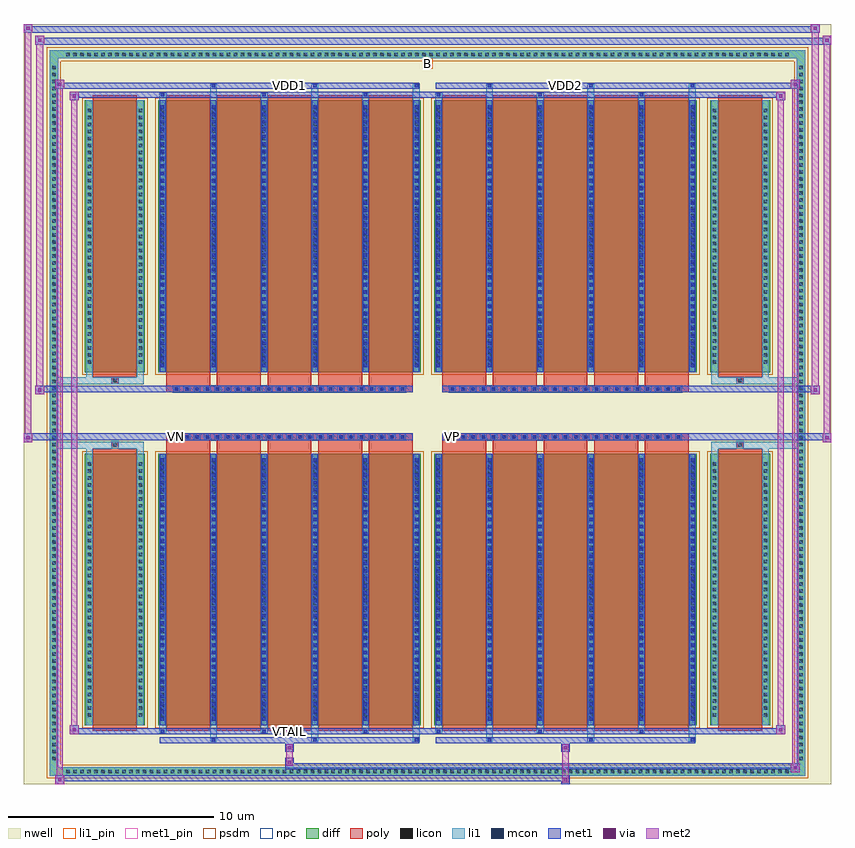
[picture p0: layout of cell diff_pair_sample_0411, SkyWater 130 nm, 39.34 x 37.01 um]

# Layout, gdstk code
import gdstk
lib = gdstk.Library(unit=1e-6, precision=5e-09)
def R(c, l, rs):  # rectangles x0, y0, x1, y1
    for r in rs: c.add(gdstk.rectangle(r[:2], r[2:], *l))
def A(c, l, x, y, w, h, nx, ny, dx, dy):  # array of equal rectangles
    R(c, l, [(x+i*dx, y+j*dy, x+i*dx+w, y+j*dy+h) for i in range(nx) for j in range(ny)])
def P(c, l, *ps):  # polygons
    for p in ps: c.add(gdstk.Polygon(p, *l))
nwell = (64, 20)
diff = (65, 20)
poly = (66, 20)
licon = (66, 44)
li1_pin = (67, 16)
li1 = (67, 20)
mcon = (67, 44)
met1_pin = (68, 16)
met1 = (68, 20)
via = (68, 44)
met2 = (69, 20)
psdm = (94, 20)
npc = (95, 20)

diff_pair_sample_0411 = lib.new_cell('diff_pair_sample_0411')
R(diff_pair_sample_0411, nwell, [(-19.67,-18.07,19.67,18.94), (-16.99,-16.26,-0.01,-0.8), (0.01,-16.26,16.99,-0.8), (-16.99,0.8,-0.01,16.26), (0.01,0.8,16.99,16.26)])
A(diff_pair_sample_0411, diff, -17.715, -17.67, 0.41, 0.41, 104, 2, 0.34, 34.93)
A(diff_pair_sample_0411, diff, -18.4, -17.035, 0.41, 0.41, 1, 100, 0, 0.34)
A(diff_pair_sample_0411, diff, 17.99, -17.035, 0.41, 0.41, 1, 100, 0, 0.34)
R(diff_pair_sample_0411, diff, [(-17.715,-17.67,17.715,-17.26), (-18.4,-17.035,-17.99,17.035), (17.99,-17.035,18.4,17.035), (-16.68,-15.215,-13.76,-1.985), (-13.12,-15.215,-0.32,-1.985), (0.32,-15.215,13.12,-1.985), (13.76,-15.215,16.68,-1.985), (-16.68,1.985,-13.76,15.215), (-13.12,1.985,-0.32,15.215), (0.32,1.985,13.12,15.215), (13.76,1.985,16.68,15.215), (-17.715,17.26,17.715,17.67)])
P(diff_pair_sample_0411, diff, [(18.4,17.67),(-18.4,17.67),(-18.4,-17.26),(-17.99,-17.26),(-17.99,17.26),(17.99,17.26),(17.99,-17.26),(-17.99,-17.26),(-18.4,-17.26),(-18.4,-17.67),(18.4,-17.67)])
A(diff_pair_sample_0411, poly, -12.73, -15.465, 2.14, 13.73, 5, 2, 2.47, 17.2)
A(diff_pair_sample_0411, poly, 0.71, -15.465, 2.14, 13.73, 5, 2, 2.47, 17.2)
A(diff_pair_sample_0411, poly, -12.73, -1.735, 2.14, 0.405, 5, 2, 2.47, 3.065)
A(diff_pair_sample_0411, poly, 0.71, -1.735, 2.14, 0.405, 5, 2, 2.47, 3.065)
A(diff_pair_sample_0411, poly, -12.385, -1.33, 0.33, 0.33, 23, 2, 0.5, 2.33)
A(diff_pair_sample_0411, poly, 1.055, -1.33, 0.33, 0.33, 23, 2, 0.5, 2.33)
R(diff_pair_sample_0411, poly, [(-16.29,-15.465,-14.15,-1.735), (14.15,-15.465,16.29,-1.735), (-15.385,-1.735,-15.055,-1.405), (-15.385,-1.735,-15.055,-1.405), (15.055,-1.735,15.385,-1.405), (15.055,-1.735,15.385,-1.405), (-12.73,-1.33,-0.71,-1), (0.71,-1.33,12.73,-1), (-12.73,1,-0.71,1.33), (0.71,1,12.73,1.33), (-15.385,1.405,-15.055,1.735), (-15.385,1.405,-15.055,1.735), (15.055,1.405,15.385,1.735), (15.055,1.405,15.385,1.735), (-16.29,1.735,-14.15,15.465), (14.15,1.735,16.29,15.465)])
A(diff_pair_sample_0411, licon, -17.595, -17.55, 0.17, 0.17, 104, 2, 0.34, 34.93)
A(diff_pair_sample_0411, licon, -18.28, -16.915, 0.17, 0.17, 1, 100, 0, 0.34)
A(diff_pair_sample_0411, licon, 18.11, -16.915, 0.17, 0.17, 1, 100, 0, 0.34)
A(diff_pair_sample_0411, licon, -16.54, -14.805, 0.17, 0.17, 1, 37, 0, 0.34)
A(diff_pair_sample_0411, licon, -14.07, -14.805, 0.17, 0.17, 1, 37, 0, 0.34)
A(diff_pair_sample_0411, licon, -12.98, -14.805, 0.17, 0.17, 6, 37, 2.47, 0.34)
A(diff_pair_sample_0411, licon, 0.46, -14.805, 0.17, 0.17, 6, 37, 2.47, 0.34)
A(diff_pair_sample_0411, licon, 13.9, -14.805, 0.17, 0.17, 1, 37, 0, 0.34)
A(diff_pair_sample_0411, licon, 16.37, -14.805, 0.17, 0.17, 1, 37, 0, 0.34)
A(diff_pair_sample_0411, licon, -12.305, -1.25, 0.17, 0.17, 23, 2, 0.5, 2.33)
A(diff_pair_sample_0411, licon, 1.135, -1.25, 0.17, 0.17, 23, 2, 0.5, 2.33)
A(diff_pair_sample_0411, licon, -16.54, 2.395, 0.17, 0.17, 1, 37, 0, 0.34)
A(diff_pair_sample_0411, licon, -14.07, 2.395, 0.17, 0.17, 1, 37, 0, 0.34)
A(diff_pair_sample_0411, licon, -12.98, 2.395, 0.17, 0.17, 6, 37, 2.47, 0.34)
A(diff_pair_sample_0411, licon, 0.46, 2.395, 0.17, 0.17, 6, 37, 2.47, 0.34)
A(diff_pair_sample_0411, licon, 13.9, 2.395, 0.17, 0.17, 1, 37, 0, 0.34)
A(diff_pair_sample_0411, licon, 16.37, 2.395, 0.17, 0.17, 1, 37, 0, 0.34)
R(diff_pair_sample_0411, licon, [(-15.305,-1.655,-15.135,-1.485), (15.135,-1.655,15.305,-1.485), (-15.305,1.485,-15.135,1.655), (15.135,1.485,15.305,1.655)])
R(diff_pair_sample_0411, li1_pin, [(-0.25,16.76,0.25,17.26)])
A(diff_pair_sample_0411, li1, -17.675, -17.63, 0.33, 0.33, 104, 2, 0.34, 34.93)
A(diff_pair_sample_0411, li1, -18.36, -16.995, 0.33, 0.33, 1, 100, 0, 0.34)
A(diff_pair_sample_0411, li1, 18.03, -16.995, 0.33, 0.33, 1, 100, 0, 0.34)
A(diff_pair_sample_0411, li1, -10.59, -16.02, 0.33, 0.805, 3, 2, 4.94, 31.235)
A(diff_pair_sample_0411, li1, -10.51, -16.02, 0.17, 0.17, 3, 2, 4.94, 31.87)
A(diff_pair_sample_0411, li1, 2.85, -16.02, 0.33, 0.805, 3, 2, 4.94, 31.235)
A(diff_pair_sample_0411, li1, 2.93, -16.02, 0.17, 0.17, 3, 2, 4.94, 31.87)
A(diff_pair_sample_0411, li1, -13.06, -15.59, 0.33, 0.375, 3, 2, 4.94, 30.805)
A(diff_pair_sample_0411, li1, -12.98, -15.59, 0.17, 0.17, 3, 2, 4.94, 31.01)
A(diff_pair_sample_0411, li1, 0.38, -15.59, 0.33, 0.375, 3, 2, 4.94, 30.805)
A(diff_pair_sample_0411, li1, 0.46, -15.59, 0.17, 0.17, 3, 2, 4.94, 31.01)
A(diff_pair_sample_0411, li1, -13.06, -15.215, 0.33, 13.23, 6, 2, 2.47, 17.2)
A(diff_pair_sample_0411, li1, 0.38, -15.215, 0.33, 13.23, 6, 2, 2.47, 17.2)
A(diff_pair_sample_0411, li1, -12.98, -14.985, 0.17, 0.17, 6, 36, 2.47, 0.36)
A(diff_pair_sample_0411, li1, -12.98, -14.985, 0.17, 12.77, 6, 2, 2.47, 17.2)
A(diff_pair_sample_0411, li1, 0.46, -14.985, 0.17, 0.17, 6, 36, 2.47, 0.36)
A(diff_pair_sample_0411, li1, 0.46, -14.985, 0.17, 12.77, 6, 2, 2.47, 17.2)
A(diff_pair_sample_0411, li1, -16.62, -14.885, 0.33, 0.33, 1, 37, 0, 0.34)
A(diff_pair_sample_0411, li1, -14.15, -14.885, 0.33, 0.33, 1, 37, 0, 0.34)
A(diff_pair_sample_0411, li1, -13.06, -14.885, 0.33, 0.33, 6, 37, 2.47, 0.34)
A(diff_pair_sample_0411, li1, 0.38, -14.885, 0.33, 0.33, 6, 37, 2.47, 0.34)
A(diff_pair_sample_0411, li1, 13.82, -14.885, 0.33, 0.33, 1, 37, 0, 0.34)
A(diff_pair_sample_0411, li1, 16.29, -14.885, 0.33, 0.33, 1, 37, 0, 0.34)
A(diff_pair_sample_0411, li1, -12.385, -1.33, 0.33, 0.33, 23, 2, 0.5, 2.33)
A(diff_pair_sample_0411, li1, 1.055, -1.33, 0.33, 0.33, 23, 2, 0.5, 2.33)
A(diff_pair_sample_0411, li1, -12.98, 2.215, 0.17, 0.17, 6, 36, 2.47, 0.36)
A(diff_pair_sample_0411, li1, 0.46, 2.215, 0.17, 0.17, 6, 36, 2.47, 0.36)
A(diff_pair_sample_0411, li1, -16.62, 2.315, 0.33, 0.33, 1, 37, 0, 0.34)
A(diff_pair_sample_0411, li1, -14.15, 2.315, 0.33, 0.33, 1, 37, 0, 0.34)
A(diff_pair_sample_0411, li1, -13.06, 2.315, 0.33, 0.33, 6, 37, 2.47, 0.34)
A(diff_pair_sample_0411, li1, 0.38, 2.315, 0.33, 0.33, 6, 37, 2.47, 0.34)
A(diff_pair_sample_0411, li1, 13.82, 2.315, 0.33, 0.33, 1, 37, 0, 0.34)
A(diff_pair_sample_0411, li1, 16.29, 2.315, 0.33, 0.33, 1, 37, 0, 0.34)
R(diff_pair_sample_0411, li1, [(-18.4,-17.67,-17.99,-17.26), (-18.4,-17.67,-17.99,-17.26), (-17.99,-17.67,17.99,-17.26), (17.99,-17.67,18.4,-17.26), (17.99,-17.67,18.4,-17.26), (-18.4,-17.26,-17.99,17.26), (17.99,-17.26,18.4,17.26), (-16.62,-15.215,-16.29,-1.985), (-14.15,-15.215,-13.82,-1.985), (13.82,-15.215,14.15,-1.985), (16.29,-15.215,16.62,-1.985), (-16.62,-1.985,-16.29,-1.405), (-14.15,-1.985,-13.82,-1.405), (13.82,-1.985,14.15,-1.405), (16.29,-1.985,16.62,-1.405), (-18.4,-1.735,-15.385,-1.405), (-16.62,-1.735,-15.385,-1.405), (-15.385,-1.735,-15.055,-1.405), (-15.055,-1.735,-13.82,-1.405), (13.82,-1.735,15.055,-1.405), (15.055,-1.735,15.385,-1.405), (15.055,-1.735,18.4,-1.405), (15.385,-1.735,16.62,-1.405), (-18.4,1.405,-15.385,1.735), (-16.62,1.405,-15.385,1.735), (-16.62,1.405,-16.29,1.985), (-15.385,1.405,-15.055,1.735), (-15.055,1.405,-13.82,1.735), (-14.15,1.405,-13.82,1.985), (13.82,1.405,15.055,1.735), (13.82,1.405,14.15,1.985), (15.055,1.405,15.385,1.735), (15.055,1.405,18.4,1.735), (15.385,1.405,16.62,1.735), (16.29,1.405,16.62,1.985), (-16.62,1.985,-16.29,15.215), (-14.15,1.985,-13.82,15.215), (13.82,1.985,14.15,15.215), (16.29,1.985,16.62,15.215), (-18.4,17.26,-17.99,17.67), (-18.4,17.26,-17.99,17.67), (-17.99,17.26,17.99,17.67), (17.99,17.26,18.4,17.67), (17.99,17.26,18.4,17.67)])
A(diff_pair_sample_0411, mcon, -10.51, -16.02, 0.17, 0.17, 3, 2, 4.94, 31.87)
A(diff_pair_sample_0411, mcon, 2.93, -16.02, 0.17, 0.17, 3, 2, 4.94, 31.87)
A(diff_pair_sample_0411, mcon, -12.98, -15.59, 0.17, 0.17, 3, 2, 4.94, 31.01)
A(diff_pair_sample_0411, mcon, 0.46, -15.59, 0.17, 0.17, 3, 2, 4.94, 31.01)
A(diff_pair_sample_0411, mcon, -12.98, -14.985, 0.17, 0.17, 6, 36, 2.47, 0.36)
A(diff_pair_sample_0411, mcon, 0.46, -14.985, 0.17, 0.17, 6, 36, 2.47, 0.36)
A(diff_pair_sample_0411, mcon, -12.305, -1.25, 0.17, 0.17, 23, 2, 0.5, 2.33)
A(diff_pair_sample_0411, mcon, 1.135, -1.25, 0.17, 0.17, 23, 2, 0.5, 2.33)
A(diff_pair_sample_0411, mcon, -12.98, 2.215, 0.17, 0.17, 6, 36, 2.47, 0.36)
A(diff_pair_sample_0411, mcon, 0.46, 2.215, 0.17, 0.17, 6, 36, 2.47, 0.36)
R(diff_pair_sample_0411, met1_pin, [(-6.855,-15.63,-6.585,-15.36), (-12.355,-1.29,-12.085,-1.02), (1.085,-1.29,1.355,-1.02), (-6.855,15.81,-6.585,16.08), (6.585,15.81,6.855,16.08)])
A(diff_pair_sample_0411, met1, -10.57, -16.08, 0.29, 0.29, 3, 2, 4.94, 31.87)
A(diff_pair_sample_0411, met1, 2.87, -16.08, 0.29, 0.29, 3, 2, 4.94, 31.87)
A(diff_pair_sample_0411, met1, -13.04, -15.65, 0.29, 0.29, 3, 2, 4.94, 31.01)
A(diff_pair_sample_0411, met1, 0.4, -15.65, 0.29, 0.29, 3, 2, 4.94, 31.01)
A(diff_pair_sample_0411, met1, -13.04, -15.215, 0.29, 13.23, 6, 2, 2.47, 17.2)
A(diff_pair_sample_0411, met1, 0.4, -15.215, 0.29, 13.23, 6, 2, 2.47, 17.2)
A(diff_pair_sample_0411, met1, -13.04, -15.045, 0.29, 0.29, 6, 36, 2.47, 0.36)
A(diff_pair_sample_0411, met1, 0.4, -15.045, 0.29, 0.29, 6, 36, 2.47, 0.36)
A(diff_pair_sample_0411, met1, -12.365, -1.31, 0.29, 0.29, 23, 2, 0.5, 2.33)
A(diff_pair_sample_0411, met1, 1.075, -1.31, 0.29, 0.29, 23, 2, 0.5, 2.33)
A(diff_pair_sample_0411, met1, -13.04, 2.155, 0.29, 0.29, 6, 36, 2.47, 0.36)
A(diff_pair_sample_0411, met1, 0.4, 2.155, 0.29, 0.29, 6, 36, 2.47, 0.36)
R(diff_pair_sample_0411, met1, [(-18.13,-18.07,-17.7,-17.64), (6.505,-18.07,6.935,-17.64), (-18.13,-17.93,6.935,-17.64), (17.7,-17.5,18.13,-17.07), (-6.935,-17.36,18.13,-17.07), (-6.935,-17.22,-6.505,-16.79), (-6.935,-16.51,-6.505,-16.08), (6.505,-16.51,6.935,-16.08), (-13.04,-16.08,-0.4,-15.79), (0.4,-16.08,13.04,-15.79), (-17.42,-15.65,-16.99,-15.22), (-17.42,-15.65,-13.04,-15.36), (-13.04,-15.65,-0.4,-15.36), (-0.4,-15.65,0.4,-15.36), (0.4,-15.65,13.04,-15.36), (13.04,-15.65,17.42,-15.36), (16.99,-15.65,17.42,-15.22), (-19.67,-1.43,-19.24,-1), (19.24,-1.43,19.67,-1), (-19.67,-1.33,-0.71,-1), (-12.73,-1.33,-0.71,-1), (0.71,-1.33,12.73,-1), (0.71,-1.33,19.67,-1), (-19.1,0.9,-18.67,1.33), (18.67,0.9,19.1,1.33), (-19.1,1,-12.73,1.33), (-12.73,1,-0.71,1.33), (0.71,1,12.73,1.33), (12.73,1,19.1,1.33), (-17.42,15.22,-16.99,15.65), (16.99,15.22,17.42,15.65), (-17.42,15.36,-13.04,15.65), (-13.04,15.36,-0.4,15.65), (-0.4,15.36,0.4,15.65), (0.4,15.36,13.04,15.65), (13.04,15.36,17.42,15.65), (-18.13,15.79,-17.7,16.22), (-18.13,15.79,-13.04,16.08), (-13.04,15.79,-0.4,16.08), (0.4,15.79,13.04,16.08), (13.04,15.79,18.13,16.08), (17.7,15.79,18.13,16.22), (-19.1,17.94,-18.67,18.37), (-19.1,17.94,-16.99,18.27), (-16.99,17.94,16.99,18.27), (16.99,17.94,19.67,18.27), (19.24,17.94,19.67,18.37), (-19.67,18.51,-19.24,18.94), (-19.67,18.51,-16.99,18.84), (-16.99,18.51,16.99,18.84), (16.99,18.51,19.1,18.84), (18.67,18.51,19.1,18.94)])
R(diff_pair_sample_0411, via, [(-17.99,-17.93,-17.84,-17.78), (6.645,-17.93,6.795,-17.78), (17.84,-17.36,17.99,-17.21), (-6.795,-17.08,-6.645,-16.93), (-6.795,-16.37,-6.645,-16.22), (6.645,-16.37,6.795,-16.22), (-17.28,-15.51,-17.13,-15.36), (17.13,-15.51,17.28,-15.36), (-19.53,-1.29,-19.38,-1.14), (19.38,-1.29,19.53,-1.14), (-18.96,1.04,-18.81,1.19), (18.81,1.04,18.96,1.19), (-17.28,15.36,-17.13,15.51), (17.13,15.36,17.28,15.51), (-17.99,15.93,-17.84,16.08), (17.84,15.93,17.99,16.08), (-18.96,18.08,-18.81,18.23), (19.38,18.08,19.53,18.23), (-19.53,18.65,-19.38,18.8), (18.81,18.65,18.96,18.8)])
R(diff_pair_sample_0411, met2, [(-18.13,-18.07,-17.7,-17.64), (-18.06,-18.07,-17.77,16.22), (-17.77,-18.07,-17.7,-17.64), (-18.08,-18.02,-17.75,-17.69), (6.555,-18.02,6.885,-17.69), (6.555,-17.69,6.885,-16.46), (17.7,-17.5,18.13,-17.07), (17.77,-17.5,18.06,16.22), (18.06,-17.5,18.13,-17.07), (17.75,-17.45,18.08,-17.12), (-6.885,-17.17,-6.555,-16.84), (-6.885,-16.84,-6.555,-16.46), (-6.885,-16.46,-6.555,-16.13), (6.555,-16.46,6.885,-16.13), (-17.42,-15.65,-16.99,-15.22), (-17.35,-15.65,-17.06,15.65), (-17.06,-15.65,-16.99,-15.22), (16.99,-15.65,17.42,-15.22), (17.06,-15.65,17.35,15.65), (17.35,-15.65,17.42,-15.22), (-17.37,-15.6,-17.04,-15.27), (17.04,-15.6,17.37,-15.27), (-19.67,-1.43,-19.24,-1), (-19.62,-1.43,-19.29,18.94), (-19.29,-1.43,-19.24,-1), (19.24,-1.43,19.67,-1), (19.29,-1.43,19.62,18.37), (19.62,-1.43,19.67,-1), (-19.62,-1.38,-19.29,-1.05), (19.29,-1.38,19.62,-1.05), (-19.1,0.9,-18.67,1.33), (-19.05,0.9,-18.72,18.37), (-18.72,0.9,-18.67,1.33), (18.67,0.9,19.1,1.33), (18.72,0.9,19.05,18.94), (19.05,0.9,19.1,1.33), (-19.05,0.95,-18.72,1.28), (18.72,0.95,19.05,1.28), (-17.42,15.22,-16.99,15.65), (-17.06,15.22,-16.99,15.65), (16.99,15.22,17.42,15.65), (17.35,15.22,17.42,15.65), (-17.37,15.27,-17.04,15.6), (17.04,15.27,17.37,15.6), (-18.13,15.79,-17.7,16.22), (-17.77,15.79,-17.7,16.22), (17.7,15.79,18.13,16.22), (18.06,15.79,18.13,16.22), (-18.08,15.84,-17.75,16.17), (17.75,15.84,18.08,16.17), (-19.1,17.94,-18.67,18.37), (-18.72,17.94,-18.67,18.37), (19.24,17.94,19.67,18.37), (19.62,17.94,19.67,18.37), (-19.05,17.99,-18.72,18.32), (19.29,17.99,19.62,18.32), (-19.67,18.51,-19.24,18.94), (-19.29,18.51,-19.24,18.94), (18.67,18.51,19.1,18.94), (19.05,18.51,19.1,18.94), (-19.62,18.56,-19.29,18.89), (18.72,18.56,19.05,18.89)])
R(diff_pair_sample_0411, psdm, [(-16.81,-15.345,-13.63,-1.855), (-13.25,-15.345,-0.19,-1.855), (0.19,-15.345,13.25,-1.855), (13.63,-15.345,16.81,-1.855), (-16.81,1.855,-13.63,15.345), (-13.25,1.855,-0.19,15.345), (0.19,1.855,13.25,15.345), (13.63,1.855,16.81,15.345)])
P(diff_pair_sample_0411, psdm, [(18.53,17.8),(-18.53,17.8),(-18.53,-17.13),(-17.86,-17.13),(-17.86,17.13),(17.86,17.13),(17.86,-17.13),(-17.86,-17.13),(-18.53,-17.13),(-18.53,-17.8),(18.53,-17.8)])
A(diff_pair_sample_0411, npc, -12.405, -1.35, 0.37, 0.37, 23, 2, 0.5, 2.33)
A(diff_pair_sample_0411, npc, 1.035, -1.35, 0.37, 0.37, 23, 2, 0.5, 2.33)
R(diff_pair_sample_0411, npc, [(-15.405,-1.755,-15.035,-1.385), (15.035,-1.755,15.405,-1.385), (-12.405,-1.35,-11.535,-0.98), (-12.405,-1.35,-11.535,-0.98), (-11.905,-1.35,-11.035,-0.98), (-11.905,-1.35,-11.035,-0.98), (-11.405,-1.35,-10.535,-0.98), (-11.405,-1.35,-10.535,-0.98), (-10.905,-1.35,-10.035,-0.98), (-10.905,-1.35,-10.035,-0.98), (-10.405,-1.35,-9.535,-0.98), (-10.405,-1.35,-9.535,-0.98), (-9.905,-1.35,-9.035,-0.98), (-9.905,-1.35,-9.035,-0.98), (-9.405,-1.35,-8.535,-0.98), (-9.405,-1.35,-8.535,-0.98), (-8.905,-1.35,-8.035,-0.98), (-8.905,-1.35,-8.035,-0.98), (-8.405,-1.35,-7.535,-0.98), (-8.405,-1.35,-7.535,-0.98), (-7.905,-1.35,-7.035,-0.98), (-7.905,-1.35,-7.035,-0.98), (-7.405,-1.35,-6.535,-0.98), (-7.405,-1.35,-6.535,-0.98), (-6.905,-1.35,-6.035,-0.98), (-6.905,-1.35,-6.035,-0.98), (-6.405,-1.35,-5.535,-0.98), (-6.405,-1.35,-5.535,-0.98), (-5.905,-1.35,-5.035,-0.98), (-5.905,-1.35,-5.035,-0.98), (-5.405,-1.35,-4.535,-0.98), (-5.405,-1.35,-4.535,-0.98), (-4.905,-1.35,-4.035,-0.98), (-4.905,-1.35,-4.035,-0.98), (-4.405,-1.35,-3.535,-0.98), (-4.405,-1.35,-3.535,-0.98), (-3.905,-1.35,-3.035,-0.98), (-3.905,-1.35,-3.035,-0.98), (-3.405,-1.35,-2.535,-0.98), (-3.405,-1.35,-2.535,-0.98), (-2.905,-1.35,-2.035,-0.98), (-2.905,-1.35,-2.035,-0.98), (-2.405,-1.35,-1.535,-0.98), (-2.405,-1.35,-1.535,-0.98), (-1.905,-1.35,-1.035,-0.98), (-1.905,-1.35,-1.035,-0.98), (1.035,-1.35,1.905,-0.98), (1.035,-1.35,1.905,-0.98), (1.535,-1.35,2.405,-0.98), (1.535,-1.35,2.405,-0.98), (2.035,-1.35,2.905,-0.98), (2.035,-1.35,2.905,-0.98), (2.535,-1.35,3.405,-0.98), (2.535,-1.35,3.405,-0.98), (3.035,-1.35,3.905,-0.98), (3.035,-1.35,3.905,-0.98), (3.535,-1.35,4.405,-0.98), (3.535,-1.35,4.405,-0.98), (4.035,-1.35,4.905,-0.98), (4.035,-1.35,4.905,-0.98), (4.535,-1.35,5.405,-0.98), (4.535,-1.35,5.405,-0.98), (5.035,-1.35,5.905,-0.98), (5.035,-1.35,5.905,-0.98), (5.535,-1.35,6.405,-0.98), (5.535,-1.35,6.405,-0.98), (6.035,-1.35,6.905,-0.98), (6.035,-1.35,6.905,-0.98), (6.535,-1.35,7.405,-0.98), (6.535,-1.35,7.405,-0.98), (7.035,-1.35,7.905,-0.98), (7.035,-1.35,7.905,-0.98), (7.535,-1.35,8.405,-0.98), (7.535,-1.35,8.405,-0.98), (8.035,-1.35,8.905,-0.98), (8.035,-1.35,8.905,-0.98), (8.535,-1.35,9.405,-0.98), (8.535,-1.35,9.405,-0.98), (9.035,-1.35,9.905,-0.98), (9.035,-1.35,9.905,-0.98), (9.535,-1.35,10.405,-0.98), (9.535,-1.35,10.405,-0.98), (10.035,-1.35,10.905,-0.98), (10.035,-1.35,10.905,-0.98), (10.535,-1.35,11.405,-0.98), (10.535,-1.35,11.405,-0.98), (11.035,-1.35,11.905,-0.98), (11.035,-1.35,11.905,-0.98), (11.535,-1.35,12.405,-0.98), (11.535,-1.35,12.405,-0.98), (-12.405,0.98,-11.535,1.35), (-12.405,0.98,-11.535,1.35), (-11.905,0.98,-11.035,1.35), (-11.905,0.98,-11.035,1.35), (-11.405,0.98,-10.535,1.35), (-11.405,0.98,-10.535,1.35), (-10.905,0.98,-10.035,1.35), (-10.905,0.98,-10.035,1.35), (-10.405,0.98,-9.535,1.35), (-10.405,0.98,-9.535,1.35), (-9.905,0.98,-9.035,1.35), (-9.905,0.98,-9.035,1.35), (-9.405,0.98,-8.535,1.35), (-9.405,0.98,-8.535,1.35), (-8.905,0.98,-8.035,1.35), (-8.905,0.98,-8.035,1.35), (-8.405,0.98,-7.535,1.35), (-8.405,0.98,-7.535,1.35), (-7.905,0.98,-7.035,1.35), (-7.905,0.98,-7.035,1.35), (-7.405,0.98,-6.535,1.35), (-7.405,0.98,-6.535,1.35), (-6.905,0.98,-6.035,1.35), (-6.905,0.98,-6.035,1.35), (-6.405,0.98,-5.535,1.35), (-6.405,0.98,-5.535,1.35), (-5.905,0.98,-5.035,1.35), (-5.905,0.98,-5.035,1.35), (-5.405,0.98,-4.535,1.35), (-5.405,0.98,-4.535,1.35), (-4.905,0.98,-4.035,1.35), (-4.905,0.98,-4.035,1.35), (-4.405,0.98,-3.535,1.35), (-4.405,0.98,-3.535,1.35), (-3.905,0.98,-3.035,1.35), (-3.905,0.98,-3.035,1.35), (-3.405,0.98,-2.535,1.35), (-3.405,0.98,-2.535,1.35), (-2.905,0.98,-2.035,1.35), (-2.905,0.98,-2.035,1.35), (-2.405,0.98,-1.535,1.35), (-2.405,0.98,-1.535,1.35), (-1.905,0.98,-1.035,1.35), (-1.905,0.98,-1.035,1.35), (1.035,0.98,1.905,1.35), (1.035,0.98,1.905,1.35), (1.535,0.98,2.405,1.35), (1.535,0.98,2.405,1.35), (2.035,0.98,2.905,1.35), (2.035,0.98,2.905,1.35), (2.535,0.98,3.405,1.35), (2.535,0.98,3.405,1.35), (3.035,0.98,3.905,1.35), (3.035,0.98,3.905,1.35), (3.535,0.98,4.405,1.35), (3.535,0.98,4.405,1.35), (4.035,0.98,4.905,1.35), (4.035,0.98,4.905,1.35), (4.535,0.98,5.405,1.35), (4.535,0.98,5.405,1.35), (5.035,0.98,5.905,1.35), (5.035,0.98,5.905,1.35), (5.535,0.98,6.405,1.35), (5.535,0.98,6.405,1.35), (6.035,0.98,6.905,1.35), (6.035,0.98,6.905,1.35), (6.535,0.98,7.405,1.35), (6.535,0.98,7.405,1.35), (7.035,0.98,7.905,1.35), (7.035,0.98,7.905,1.35), (7.535,0.98,8.405,1.35), (7.535,0.98,8.405,1.35), (8.035,0.98,8.905,1.35), (8.035,0.98,8.905,1.35), (8.535,0.98,9.405,1.35), (8.535,0.98,9.405,1.35), (9.035,0.98,9.905,1.35), (9.035,0.98,9.905,1.35), (9.535,0.98,10.405,1.35), (9.535,0.98,10.405,1.35), (10.035,0.98,10.905,1.35), (10.035,0.98,10.905,1.35), (10.535,0.98,11.405,1.35), (10.535,0.98,11.405,1.35), (11.035,0.98,11.905,1.35), (11.035,0.98,11.905,1.35), (11.535,0.98,12.405,1.35), (11.535,0.98,12.405,1.35), (-15.405,1.385,-15.035,1.755), (15.035,1.385,15.405,1.755)])
diff_pair_sample_0411.add(gdstk.Label('VTAIL', (-6.72,-15.495), layer=68, texttype=5))
diff_pair_sample_0411.add(gdstk.Label('VN', (-12.22,-1.155), layer=68, texttype=5))
diff_pair_sample_0411.add(gdstk.Label('VP', (1.22,-1.155), layer=68, texttype=5))
diff_pair_sample_0411.add(gdstk.Label('B', (0,17.01), layer=67, texttype=5))
diff_pair_sample_0411.add(gdstk.Label('VDD2', (6.72,15.945), layer=68, texttype=5))
diff_pair_sample_0411.add(gdstk.Label('VDD1', (-6.72,15.945), layer=68, texttype=5))

lib.write_gds('diff_pair_sample_0411.gds')
